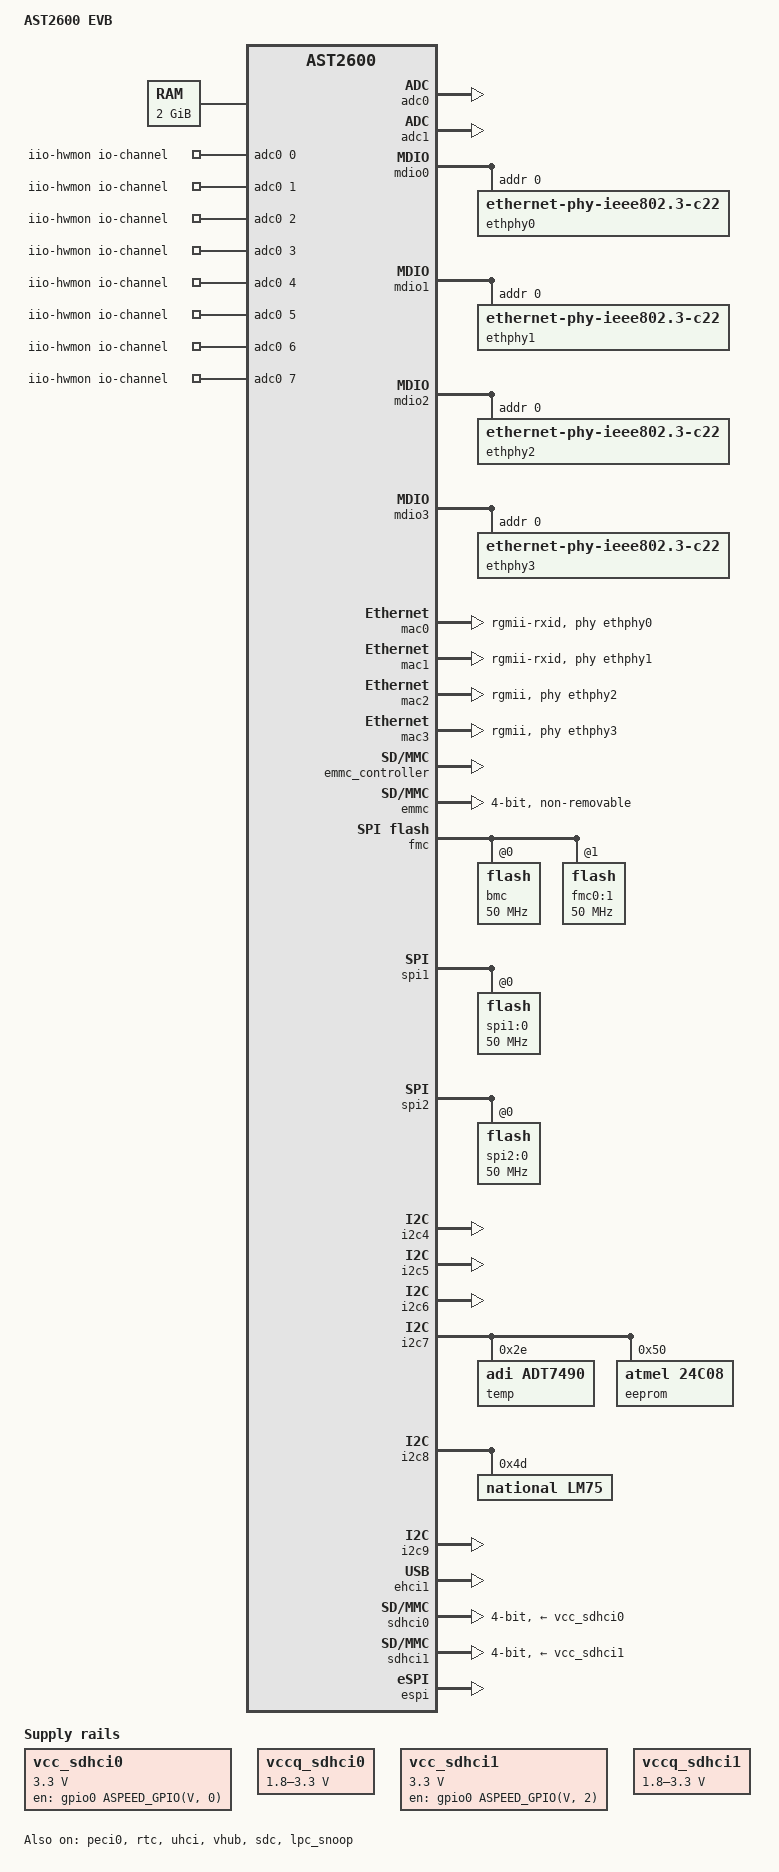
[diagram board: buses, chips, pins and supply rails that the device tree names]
// SPDX-License-Identifier: GPL-2.0-or-later
// Copyright 2019 IBM Corp.

/dts-v1/;

#include "aspeed-g6.dtsi"
#include <dt-bindings/gpio/aspeed-gpio.h>

/ {
	model = "AST2600 EVB";
	compatible = "aspeed,ast2600";

	aliases {
		serial4 = &uart5;
		mmc0 = &emmc;
		mmc1 = &sdhci0;
		mmc2 = &sdhci1;
	};

	chosen {
		bootargs = "console=ttyS4,115200n8";
	};

	memory@80000000 {
		device_type = "memory";
		reg = <0x80000000 0x80000000>;
	};

	vcc_sdhci0: regulator-vcc-sdhci0 {
		compatible = "regulator-fixed";
		regulator-name = "SDHCI0 Vcc";
		regulator-min-microvolt = <3300000>;
		regulator-max-microvolt = <3300000>;
		gpios = <&gpio0 ASPEED_GPIO(V, 0) GPIO_ACTIVE_HIGH>;
		enable-active-high;
	};

	vccq_sdhci0: regulator-vccq-sdhci0 {
		compatible = "regulator-gpio";
		regulator-name = "SDHCI0 VccQ";
		regulator-min-microvolt = <1800000>;
		regulator-max-microvolt = <3300000>;
		gpios = <&gpio0 ASPEED_GPIO(V, 1) GPIO_ACTIVE_HIGH>;
		gpios-states = <1>;
		states = <3300000 1>,
			 <1800000 0>;
	};

	vcc_sdhci1: regulator-vcc-sdhci1 {
		compatible = "regulator-fixed";
		regulator-name = "SDHCI1 Vcc";
		regulator-min-microvolt = <3300000>;
		regulator-max-microvolt = <3300000>;
		gpios = <&gpio0 ASPEED_GPIO(V, 2) GPIO_ACTIVE_HIGH>;
		enable-active-high;
	};

	vccq_sdhci1: regulator-vccq-sdhci1 {
		compatible = "regulator-gpio";
		regulator-name = "SDHCI1 VccQ";
		regulator-min-microvolt = <1800000>;
		regulator-max-microvolt = <3300000>;
		gpios = <&gpio0 ASPEED_GPIO(V, 3) GPIO_ACTIVE_HIGH>;
		gpios-states = <1>;
		states = <3300000 1>,
			 <1800000 0>;
	};
	iio-hwmon {
		compatible = "iio-hwmon";
		io-channels = <&adc0 0>, <&adc0 1>, <&adc0 2>, <&adc0 3>,
				<&adc0 4>, <&adc0 5>, <&adc0 6>, <&adc0 7>,
				<&adc1 0>, <&adc1 1>, <&adc1 2>, <&adc1 3>,
				<&adc1 4>, <&adc1 5>, <&adc1 6>, <&adc1 7>;
	};
};

&adc0 {
	vref = <2500>;
	status = "okay";

	pinctrl-names = "default";
	pinctrl-0 = <&pinctrl_adc0_default &pinctrl_adc1_default
		&pinctrl_adc2_default &pinctrl_adc3_default
		&pinctrl_adc4_default &pinctrl_adc5_default
		&pinctrl_adc6_default &pinctrl_adc7_default>;
};

&adc1 {
	vref = <2500>;
	status = "okay";

	pinctrl-names = "default";
	pinctrl-0 = <&pinctrl_adc8_default &pinctrl_adc9_default
		&pinctrl_adc10_default &pinctrl_adc11_default
		&pinctrl_adc12_default &pinctrl_adc13_default
		&pinctrl_adc14_default &pinctrl_adc15_default>;
};

&peci0 {
	status = "okay";
};

&mdio0 {
	status = "okay";

	ethphy0: ethernet-phy@0 {
		compatible = "ethernet-phy-ieee802.3-c22";
		reg = <0>;
	};
};

&mdio1 {
	status = "okay";

	ethphy1: ethernet-phy@0 {
		compatible = "ethernet-phy-ieee802.3-c22";
		reg = <0>;
	};
};

&mdio2 {
	status = "okay";

	ethphy2: ethernet-phy@0 {
		compatible = "ethernet-phy-ieee802.3-c22";
		reg = <0>;
	};
};

&mdio3 {
	status = "okay";

	ethphy3: ethernet-phy@0 {
		compatible = "ethernet-phy-ieee802.3-c22";
		reg = <0>;
	};
};

&mac0 {
	status = "okay";

	phy-mode = "rgmii-rxid";
	phy-handle = <&ethphy0>;

	pinctrl-names = "default";
	pinctrl-0 = <&pinctrl_rgmii1_default>;
};

&mac1 {
	status = "okay";

	phy-mode = "rgmii-rxid";
	phy-handle = <&ethphy1>;

	pinctrl-names = "default";
	pinctrl-0 = <&pinctrl_rgmii2_default>;
};

&mac2 {
	status = "okay";

	phy-mode = "rgmii";
	phy-handle = <&ethphy2>;

	pinctrl-names = "default";
	pinctrl-0 = <&pinctrl_rgmii3_default>;
};

&mac3 {
	status = "okay";

	phy-mode = "rgmii";
	phy-handle = <&ethphy3>;

	pinctrl-names = "default";
	pinctrl-0 = <&pinctrl_rgmii4_default>;
};

&syscon {
	mac0-clk-delay = <0x10 0x0a
			  0x10 0x10
			  0x10 0x10>;
	mac1-clk-delay = <0x10 0x0a
			  0x10 0x10
			  0x10 0x10>;
	mac2-clk-delay = <0x08 0x04
			  0x08 0x04
			  0x08 0x04>;
	mac3-clk-delay = <0x08 0x04
			  0x08 0x04
			  0x08 0x04>;
};

&emmc_controller {
	status = "okay";
	aspeed-max-tap-delay = <736>;
	mmc-hs200-1_8v;
};

&emmc {
	status = "okay";
#if 1
	bus-width = <4>;
#else
	bus-width = <8>;
	pinctrl-0 = <&pinctrl_emmc_default
			&pinctrl_emmcg8_default>;
#endif
	non-removable;
	max-frequency = <100000000>;
	/* <0 (MHz * 0.26496)>, <1 (MHz * 0.04968 + 180)> */
	clk-phase-mmc-hs200 = <0 27>, <1 185>;
	/*
	 * max-frequency = <200000000>;
	 * clk-phase-mmc-hs200 = <0 53>, <1 190>;
	 */
};

&rtc {
	status = "okay";
};

&fmc {
	fmc-spi-user-mode;
	pinctrl-names = "default";
	pinctrl-0 = <&pinctrl_fwqspi_default>;
	status = "okay";

	flash@0 {
		status = "okay";
		m25p,fast-read;
		label = "bmc";
		spi-max-frequency = <50000000>;
		spi-tx-bus-width = <4>;
		spi-rx-bus-width = <4>;
#include "aspeed-evb-flash-layout-64.dtsi"
	};

	flash@1 {
		status = "okay";
		m25p,fast-read;
		label = "fmc0:1";
		spi-max-frequency = <50000000>;
		spi-tx-bus-width = <4>;
		spi-rx-bus-width = <4>;
	};

	flash@2 {
		status = "disabled";
		m25p,fast-read;
		label = "fmc0:2";
		spi-max-frequency = <50000000>;
		spi-tx-bus-width = <4>;
		spi-rx-bus-width = <4>;
	};
};

&spi1 {
	fmc-spi-user-mode;
	pinctrl-names = "default";
	pinctrl-0 = <&pinctrl_spi1_default &pinctrl_spi1cs1_default
				&pinctrl_qspi1_default>;
	status = "okay";

	flash@0 {
		status = "okay";
		m25p,fast-read;
		label = "spi1:0";
		spi-max-frequency = <50000000>;
		spi-tx-bus-width = <4>;
		spi-rx-bus-width = <4>;
	};

	flash@1 {
		status = "disabled";
		m25p,fast-read;
		label = "spi1:1";
		spi-max-frequency = <50000000>;
		spi-tx-bus-width = <4>;
		spi-rx-bus-width = <4>;
	};
};

&spi2 {
	fmc-spi-user-mode;
	pinctrl-names = "default";
	pinctrl-0 = <&pinctrl_spi2_default &pinctrl_spi2cs1_default
				&pinctrl_spi2cs2_default &pinctrl_qspi2_default>;
	status = "okay";

	flash@0 {
		status = "okay";
		m25p,fast-read;
		label = "spi2:0";
		spi-max-frequency = <50000000>;
		spi-tx-bus-width = <4>;
		spi-rx-bus-width = <4>;
	};

	flash@1 {
		status = "disabled";
		m25p,fast-read;
		label = "spi2:1";
		spi-max-frequency = <50000000>;
		spi-tx-bus-width = <4>;
		spi-rx-bus-width = <4>;
	};

	flash@2 {
		status = "disabled";
		m25p,fast-read;
		label = "spi2:2";
		spi-max-frequency = <50000000>;
		spi-tx-bus-width = <4>;
		spi-rx-bus-width = <4>;
	};

};

&i2c4 {
	status = "okay";
};

&i2c5 {
	status = "okay";
};

&i2c6 {
	status = "okay";
};

&i2c7 {
	status = "okay";

	temp@2e {
		compatible = "adi,adt7490";
		reg = <0x2e>;
	};

	eeprom@50 {
		compatible = "atmel,24c08";
		reg = <0x50>;
		pagesize = <16>;
	};

};

&i2c8 {
	status = "okay";

	lm75@4d {
		compatible = "national,lm75";
		reg = <0x4d>;
	};

};

&i2c9 {
	status = "okay";
};

#if 0
&ehci0 {
	status = "okay";
};
#endif

&ehci1 {
	status = "okay";
};

&uhci {
	status = "okay";
};

&vhub {
	status = "okay";
	pinctrl-names = "default";
	pinctrl-0 = <&pinctrl_usb2adp_default>;
};

#if 0
&udc {
	status = "okay";
	pinctrl-names = "default";
	pinctrl-0 = <&pinctrl_usb2bd_default>;
};
#endif

&sdc {
	status = "okay";
	aspeed-max-tap-delay = <9000>;
};

/*
 * The signal voltage of sdhci0 and sdhci1 on AST2600-A2 EVB is able to be
 * toggled by GPIO pins.
 * In the reference design, GPIOV0 of AST2600-A2 EVB is connected to the
 * power load switch that provides 3.3v to sdhci0 vdd, GPIOV1 is connected to
 * a 1.8v and a 3.3v power load switch that provides signal voltage to
 * sdhci0 bus.
 * If GPIOV0 is active high, sdhci0 is enabled, otherwise, sdhci0 is disabled.
 * If GPIOV1 is active high, 3.3v power load switch is enabled, sdhci0 signal
 * voltage is 3.3v, otherwise, 1.8v power load switch will be enabled,
 * sdhci0 signal voltage becomes 1.8v.
 * AST2600-A2 EVB also supports toggling signal voltage for sdhci1.
 * The design is the same as sdhci0, it uses GPIOV2 as power-gpio and GPIOV3
 * as power-switch-gpio.
 */
&sdhci0 {
	status = "okay";
	bus-width = <4>;
	max-frequency = <100000000>;
	sdhci-drive-type = /bits/ 8 <3>;
	/* SDR104/DDR50 bits in CAPA2 are not supported */
	sdhci-caps-mask = <0x6 0x0>;
	sdhci,wp-inverted;
	vmmc-supply = <&vcc_sdhci0>;
	vqmmc-supply = <&vccq_sdhci0>;
	/* <0 (MHz * 1.296)>, <1 (MHz * 2.376> */
	clk-phase-uhs-sdr50 = <0 130>, <0 238>;
};

&sdhci1 {
	status = "okay";
	bus-width = <4>;
	max-frequency = <100000000>;
	sdhci-drive-type = /bits/ 8 <3>;
	/* SDR104/DDR50 bits in CAPA2 are not supported */
	sdhci-caps-mask = <0x6 0x0>;
	sdhci,wp-inverted;
	vmmc-supply = <&vcc_sdhci1>;
	vqmmc-supply = <&vccq_sdhci1>;
	/* <0 (MHz * 1.296)>, <1 (MHz * 1.296> */
	clk-phase-uhs-sdr50 = <0 130>, <0 130>;
};

&espi {
	status = "okay";
	perif-dma-mode;
	oob-dma-mode;
	flash-dma-mode;
};

&lpc_snoop {
	status = "okay";
	snoop-ports = <0x80>;
};
